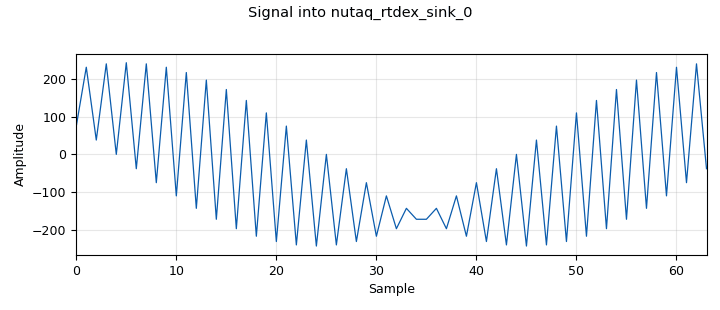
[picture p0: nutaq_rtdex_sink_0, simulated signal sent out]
<?xml version='1.0' encoding='utf-8'?>
<?grc format='1' created='3.7.7'?>
<flow_graph>
<block>
<key>options</key>
<param><key>id</key><value>perseus_mimo</value></param>
<param><key>title</key><value>Perseus MIMO</value></param>
<param><key>generate_options</key><value>wx_gui</value></param>
<param><key>category</key><value>Custom</value></param>
</block>
<block>
<key>variable</key>
<param><key>id</key><value>samp_rate</value></param>
<param><key>value</key><value>40e6/2</value></param>
</block>
<block>
<key>blocks_float_to_short</key>
<param><key>id</key><value>blocks_float_to_short_0_0</value></param>
<param><key>scale</key><value>2**11-1</value></param>
</block>
<block>
<key>blocks_float_to_short</key>
<param><key>id</key><value>blocks_float_to_short_0_0_0</value></param>
<param><key>scale</key><value>2**11-1</value></param>
</block>
<block>
<key>blocks_interleave</key>
<param><key>id</key><value>blocks_interleave_0</value></param>
<param><key>type</key><value>short</value></param>
</block>
<block>
<key>nutaq_rtdex_source</key>
<param><key>id</key><value>nutaq_rtdex_source_0</value></param>
<param><key>_enabled</key><value>False</value></param>
<param><key>target_id</key><value>nutaq_carrier_perseus_0</value></param>
<param><key>block_priority</key><value>5</value></param>
<param><key>type</key><value>short</value></param>
<param><key>media_type</key><value>0</value></param>
<param><key>packet_size</key><value>8192</value></param>
<param><key>num_chan</key><value>2</value></param>
<param><key>channels</key><value>1,2</value></param>
</block>
<block>
<key>wxgui_fftsink2</key>
<param><key>id</key><value>wxgui_fftsink_0</value></param>
<param><key>_enabled</key><value>False</value></param>
<param><key>type</key><value>complex</value></param>
<param><key>title</key><value>FFT Plot</value></param>
<param><key>samp_rate</key><value>samp_rate</value></param>
<param><key>baseband_freq</key><value>0</value></param>
<param><key>y_per_div</key><value>10</value></param>
<param><key>y_divs</key><value>10</value></param>
<param><key>ref_level</key><value>0</value></param>
<param><key>ref_scale</key><value>2.0</value></param>
<param><key>fft_size</key><value>1024</value></param>
<param><key>fft_rate</key><value>15</value></param>
<param><key>peak_hold</key><value>False</value></param>
<param><key>average</key><value>False</value></param>
<param><key>avg_alpha</key><value>0</value></param>
<param><key>win</key><value>None</value></param>
<param><key>freqvar</key><value>None</value></param>
</block>
<block>
<key>wxgui_fftsink2</key>
<param><key>id</key><value>wxgui_fftsink_1</value></param>
<param><key>_enabled</key><value>False</value></param>
<param><key>type</key><value>complex</value></param>
<param><key>title</key><value>FFT Plot</value></param>
<param><key>samp_rate</key><value>samp_rate</value></param>
<param><key>baseband_freq</key><value>0</value></param>
<param><key>y_per_div</key><value>10</value></param>
<param><key>y_divs</key><value>10</value></param>
<param><key>ref_level</key><value>0</value></param>
<param><key>ref_scale</key><value>2.0</value></param>
<param><key>fft_size</key><value>1024</value></param>
<param><key>fft_rate</key><value>15</value></param>
<param><key>peak_hold</key><value>False</value></param>
<param><key>average</key><value>False</value></param>
<param><key>avg_alpha</key><value>0</value></param>
<param><key>win</key><value>None</value></param>
<param><key>freqvar</key><value>None</value></param>
</block>
<block>
<key>blocks_float_to_complex</key>
<param><key>id</key><value>blocks_float_to_complex_0_0</value></param>
<param><key>_enabled</key><value>False</value></param>
</block>
<block>
<key>blocks_deinterleave</key>
<param><key>id</key><value>blocks_deinterleave_0</value></param>
<param><key>_enabled</key><value>False</value></param>
<param><key>type</key><value>short</value></param>
</block>
<block>
<key>blocks_short_to_float</key>
<param><key>id</key><value>blocks_short_to_float_0</value></param>
<param><key>_enabled</key><value>False</value></param>
<param><key>scale</key><value>2**11-1</value></param>
</block>
<block>
<key>blocks_short_to_float</key>
<param><key>id</key><value>blocks_short_to_float_0_0</value></param>
<param><key>_enabled</key><value>False</value></param>
<param><key>scale</key><value>2**11-1</value></param>
</block>
<block>
<key>blocks_short_to_float</key>
<param><key>id</key><value>blocks_short_to_float_0_1</value></param>
<param><key>_enabled</key><value>False</value></param>
<param><key>scale</key><value>2**11-1</value></param>
</block>
<block>
<key>blocks_short_to_float</key>
<param><key>id</key><value>blocks_short_to_float_0_0_0</value></param>
<param><key>_enabled</key><value>False</value></param>
<param><key>scale</key><value>2**11-1</value></param>
</block>
<block>
<key>blocks_deinterleave</key>
<param><key>id</key><value>blocks_deinterleave_0_0</value></param>
<param><key>_enabled</key><value>False</value></param>
<param><key>type</key><value>short</value></param>
</block>
<block>
<key>blocks_float_to_complex</key>
<param><key>id</key><value>blocks_float_to_complex_0</value></param>
<param><key>_enabled</key><value>False</value></param>
</block>
<block>
<key>analog_sig_source_x</key>
<param><key>id</key><value>analog_sig_source_x_0_0</value></param>
<param><key>_enabled</key><value>False</value></param>
<param><key>type</key><value>complex</value></param>
<param><key>samp_rate</key><value>samp_rate/40</value></param>
<param><key>waveform</key><value>analog.GR_COS_WAVE</value></param>
<param><key>freq</key><value>freq2</value></param>
<param><key>amp</key><value>0.95</value></param>
<param><key>offset</key><value>0</value></param>
</block>
<block>
<key>blocks_interleave</key>
<param><key>id</key><value>blocks_interleave_0_0</value></param>
<param><key>_enabled</key><value>False</value></param>
<param><key>type</key><value>short</value></param>
</block>
<block>
<key>blocks_complex_to_float</key>
<param><key>id</key><value>blocks_complex_to_float_0_0</value></param>
<param><key>_enabled</key><value>False</value></param>
</block>
<block>
<key>blocks_float_to_short</key>
<param><key>id</key><value>blocks_float_to_short_0_0_0_0</value></param>
<param><key>_enabled</key><value>False</value></param>
<param><key>scale</key><value>2**11-1</value></param>
</block>
<block>
<key>blocks_float_to_short</key>
<param><key>id</key><value>blocks_float_to_short_0_0_1</value></param>
<param><key>_enabled</key><value>False</value></param>
<param><key>scale</key><value>2**11-1</value></param>
</block>
<block>
<key>nutaq_carrier_perseus</key>
<param><key>id</key><value>nutaq_carrier_perseus_0</value></param>
<param><key>ip_addr</key><value>192.168.0.101</value></param>
</block>
<block>
<key>nutaq_custom_register</key>
<param><key>id</key><value>nutaq_custom_register_0</value></param>
<param><key>target_id</key><value>nutaq_carrier_perseus_0</value></param>
<param><key>block_priority</key><value>4</value></param>
<param><key>index</key><value>1</value></param>
<param><key>value</key><value>3</value></param>
<param><key>update_rate</key><value>1</value></param>
</block>
<block>
<key>nutaq_custom_register</key>
<param><key>id</key><value>nutaq_carrier_perseus_0d</value></param>
<param><key>target_id</key><value>nutaq_carrier_perseus_0</value></param>
<param><key>block_priority</key><value>5</value></param>
<param><key>index</key><value>4</value></param>
<param><key>value</key><value>1</value></param>
<param><key>update_rate</key><value>1</value></param>
</block>
<block>
<key>nutaq_custom_register</key>
<param><key>id</key><value>nutaq_custom_register_0_1</value></param>
<param><key>target_id</key><value>nutaq_carrier_perseus_0</value></param>
<param><key>block_priority</key><value>36</value></param>
<param><key>index</key><value>0</value></param>
<param><key>value</key><value>int((2e6)/samp_rate*(2**32))</value></param>
<param><key>update_rate</key><value>1</value></param>
</block>
<block>
<key>nutaq_custom_register</key>
<param><key>id</key><value>nutaq_custom_register_0_1_0</value></param>
<param><key>target_id</key><value>nutaq_carrier_perseus_0</value></param>
<param><key>block_priority</key><value>7</value></param>
<param><key>index</key><value>2</value></param>
<param><key>value</key><value>int(0/samp_rate*(2**32))</value></param>
<param><key>update_rate</key><value>1</value></param>
</block>
<block>
<key>nutaq_custom_register</key>
<param><key>id</key><value>nutaq_custom_register_0_1_1</value></param>
<param><key>target_id</key><value>nutaq_carrier_perseus_0</value></param>
<param><key>block_priority</key><value>9</value></param>
<param><key>index</key><value>6</value></param>
<param><key>value</key><value>600</value></param>
<param><key>update_rate</key><value>1</value></param>
</block>
<block>
<key>nutaq_custom_register</key>
<param><key>id</key><value>nutaq_custom_register_0_0_0</value></param>
<param><key>target_id</key><value>nutaq_carrier_perseus_0</value></param>
<param><key>block_priority</key><value>8</value></param>
<param><key>index</key><value>3</value></param>
<param><key>value</key><value>7</value></param>
<param><key>update_rate</key><value>1</value></param>
</block>
<block>
<key>variable_slider</key>
<param><key>id</key><value>freq2</value></param>
<param><key>_enabled</key><value>False</value></param>
<param><key>label</key><value></value></param>
<param><key>value</key><value>1e6</value></param>
<param><key>min</key><value>-samp_rate/2</value></param>
<param><key>max</key><value>samp_rate/2</value></param>
<param><key>num_steps</key><value>100</value></param>
<param><key>style</key><value>wx.SL_HORIZONTAL</value></param>
<param><key>converver</key><value>float_converter</value></param>
</block>
<block>
<key>variable_slider</key>
<param><key>id</key><value>freq1</value></param>
<param><key>label</key><value></value></param>
<param><key>value</key><value>500e3/40</value></param>
<param><key>min</key><value>-samp_rate/2/40</value></param>
<param><key>max</key><value>samp_rate/2/40</value></param>
<param><key>num_steps</key><value>100</value></param>
<param><key>style</key><value>wx.SL_HORIZONTAL</value></param>
<param><key>converver</key><value>float_converter</value></param>
</block>
<block>
<key>nutaq_rtdex_sink</key>
<param><key>id</key><value>nutaq_rtdex_sink_0</value></param>
<param><key>target_id</key><value>nutaq_carrier_perseus_0</value></param>
<param><key>block_priority</key><value>4</value></param>
<param><key>type</key><value>short</value></param>
<param><key>media_type</key><value>0</value></param>
<param><key>packet_size</key><value>8192</value></param>
<param><key>num_chan</key><value>1</value></param>
<param><key>channels</key><value>1</value></param>
</block>
<block>
<key>analog_sig_source_x</key>
<param><key>id</key><value>analog_sig_source_x_0</value></param>
<param><key>type</key><value>complex</value></param>
<param><key>samp_rate</key><value>samp_rate/40</value></param>
<param><key>waveform</key><value>analog.GR_COS_WAVE</value></param>
<param><key>freq</key><value>freq1</value></param>
<param><key>amp</key><value>0.95</value></param>
<param><key>offset</key><value>0</value></param>
</block>
<block>
<key>blocks_complex_to_float</key>
<param><key>id</key><value>blocks_complex_to_float_0</value></param>
</block>
<block>
<key>blocks_multiply_const_vxx</key>
<param><key>id</key><value>blocks_multiply_const_vxx_0_2</value></param>
<param><key>type</key><value>complex</value></param>
<param><key>const</key><value>0.125</value></param>
</block>
<block>
<key>nutaq_radio420_rx</key>
<param><key>id</key><value>nutaq_radio420_rx_0_0</value></param>
<param><key>target_id</key><value>nutaq_carrier_perseus_0</value></param>
<param><key>block_priority</key><value>3</value></param>
<param><key>selected_card</key><value>2</value></param>
<param><key>enable</key><value>1</value></param>
<param><key>reference</key><value>1</value></param>
<param><key>rx_freq</key><value>943e6</value></param>
<param><key>datarate</key><value>samp_rate*2</value></param>
<param><key>calibrate</key><value>1</value></param>
<param><key>band</key><value>0</value></param>
<param><key>update_rate</key><value>1</value></param>
<param><key>rx_lna_gain</key><value>2</value></param>
<param><key>rx_vga1_gain</key><value>1</value></param>
<param><key>rx_gain2</key><value>0</value></param>
<param><key>rx_gain3</key><value>-8</value></param>
<param><key>rx_lpf_bandwidth</key><value>6</value></param>
<param><key>rx_rf_filter</key><value>2</value></param>
<param><key>ref_clk_ctrl</key><value>0</value></param>
<param><key>rf_ctrl</key><value>0</value></param>
<param><key>rx_gain_ctrl</key><value>0</value></param>
<param><key>pll_cpld_ctrl</key><value>0</value></param>
</block>
<block>
<key>nutaq_radio420_tx</key>
<param><key>id</key><value>nutaq_radio420_tx_0_0</value></param>
<param><key>target_id</key><value>nutaq_carrier_perseus_0</value></param>
<param><key>block_priority</key><value>2</value></param>
<param><key>selected_card</key><value>2</value></param>
<param><key>enable</key><value>1</value></param>
<param><key>reference</key><value>1</value></param>
<param><key>tx_freq</key><value>943e6</value></param>
<param><key>datarate</key><value>samp_rate*2</value></param>
<param><key>calibrate</key><value>1</value></param>
<param><key>band</key><value>0</value></param>
<param><key>update_rate</key><value>1</value></param>
<param><key>tx_vga1_gain</key><value>-17</value></param>
<param><key>tx_vga2_gain</key><value>5</value></param>
<param><key>tx_gain3</key><value>-4</value></param>
<param><key>tx_lpf_bandwidth</key><value>6</value></param>
<param><key>ref_clk_ctrl</key><value>0</value></param>
<param><key>rf_ctrl</key><value>0</value></param>
<param><key>tx_gain_ctrl</key><value>0</value></param>
<param><key>pll_cpld_ctrl</key><value>0</value></param>
</block>
<block>
<key>nutaq_radio420_rx</key>
<param><key>id</key><value>nutaq_radio420_rx_0</value></param>
<param><key>target_id</key><value>nutaq_carrier_perseus_0</value></param>
<param><key>block_priority</key><value>1</value></param>
<param><key>selected_card</key><value>1</value></param>
<param><key>enable</key><value>1</value></param>
<param><key>reference</key><value>0</value></param>
<param><key>rx_freq</key><value>943e6</value></param>
<param><key>datarate</key><value>samp_rate*2</value></param>
<param><key>calibrate</key><value>1</value></param>
<param><key>band</key><value>0</value></param>
<param><key>update_rate</key><value>1</value></param>
<param><key>rx_lna_gain</key><value>2</value></param>
<param><key>rx_vga1_gain</key><value>1</value></param>
<param><key>rx_gain2</key><value>0</value></param>
<param><key>rx_gain3</key><value>-8</value></param>
<param><key>rx_lpf_bandwidth</key><value>6</value></param>
<param><key>rx_rf_filter</key><value>2</value></param>
<param><key>ref_clk_ctrl</key><value>0</value></param>
<param><key>rf_ctrl</key><value>0</value></param>
<param><key>rx_gain_ctrl</key><value>0</value></param>
<param><key>pll_cpld_ctrl</key><value>0</value></param>
</block>
<block>
<key>nutaq_radio420_tx</key>
<param><key>id</key><value>nutaq_radio420_tx_0</value></param>
<param><key>target_id</key><value>nutaq_carrier_perseus_0</value></param>
<param><key>block_priority</key><value>0</value></param>
<param><key>selected_card</key><value>1</value></param>
<param><key>enable</key><value>1</value></param>
<param><key>reference</key><value>0</value></param>
<param><key>tx_freq</key><value>943e6</value></param>
<param><key>datarate</key><value>samp_rate*2</value></param>
<param><key>calibrate</key><value>1</value></param>
<param><key>band</key><value>0</value></param>
<param><key>update_rate</key><value>1</value></param>
<param><key>tx_vga1_gain</key><value>-17</value></param>
<param><key>tx_vga2_gain</key><value>5</value></param>
<param><key>tx_gain3</key><value>-4</value></param>
<param><key>tx_lpf_bandwidth</key><value>6</value></param>
<param><key>ref_clk_ctrl</key><value>0</value></param>
<param><key>rf_ctrl</key><value>0</value></param>
<param><key>tx_gain_ctrl</key><value>0</value></param>
<param><key>pll_cpld_ctrl</key><value>0</value></param>
</block>
<connection><source_block_id>blocks_interleave_0</source_block_id><sink_block_id>nutaq_rtdex_sink_0</sink_block_id><source_key>0</source_key><sink_key>0</sink_key></connection>
<connection><source_block_id>blocks_float_to_short_0_0</source_block_id><sink_block_id>blocks_interleave_0</sink_block_id><source_key>0</source_key><sink_key>0</sink_key></connection>
<connection><source_block_id>blocks_float_to_short_0_0_0</source_block_id><sink_block_id>blocks_interleave_0</sink_block_id><source_key>0</source_key><sink_key>1</sink_key></connection>
<connection><source_block_id>blocks_complex_to_float_0</source_block_id><sink_block_id>blocks_float_to_short_0_0_0</sink_block_id><source_key>1</source_key><sink_key>0</sink_key></connection>
<connection><source_block_id>blocks_complex_to_float_0</source_block_id><sink_block_id>blocks_float_to_short_0_0</sink_block_id><source_key>0</source_key><sink_key>0</sink_key></connection>
<connection><source_block_id>blocks_complex_to_float_0_0</source_block_id><sink_block_id>blocks_float_to_short_0_0_1</sink_block_id><source_key>0</source_key><sink_key>0</sink_key></connection>
<connection><source_block_id>blocks_float_to_short_0_0_1</source_block_id><sink_block_id>blocks_interleave_0_0</sink_block_id><source_key>0</source_key><sink_key>0</sink_key></connection>
<connection><source_block_id>blocks_short_to_float_0_0_0</source_block_id><sink_block_id>blocks_float_to_complex_0_0</sink_block_id><source_key>0</source_key><sink_key>1</sink_key></connection>
<connection><source_block_id>blocks_short_to_float_0_1</source_block_id><sink_block_id>blocks_float_to_complex_0_0</sink_block_id><source_key>0</source_key><sink_key>0</sink_key></connection>
<connection><source_block_id>blocks_deinterleave_0_0</source_block_id><sink_block_id>blocks_short_to_float_0_1</sink_block_id><source_key>0</source_key><sink_key>0</sink_key></connection>
<connection><source_block_id>blocks_deinterleave_0_0</source_block_id><sink_block_id>blocks_short_to_float_0_0_0</sink_block_id><source_key>1</source_key><sink_key>0</sink_key></connection>
<connection><source_block_id>nutaq_rtdex_source_0</source_block_id><sink_block_id>blocks_deinterleave_0_0</sink_block_id><source_key>1</source_key><sink_key>0</sink_key></connection>
<connection><source_block_id>blocks_deinterleave_0</source_block_id><sink_block_id>blocks_short_to_float_0</sink_block_id><source_key>0</source_key><sink_key>0</sink_key></connection>
<connection><source_block_id>blocks_short_to_float_0</source_block_id><sink_block_id>blocks_float_to_complex_0</sink_block_id><source_key>0</source_key><sink_key>0</sink_key></connection>
<connection><source_block_id>blocks_short_to_float_0_0</source_block_id><sink_block_id>blocks_float_to_complex_0</sink_block_id><source_key>0</source_key><sink_key>1</sink_key></connection>
<connection><source_block_id>nutaq_rtdex_source_0</source_block_id><sink_block_id>blocks_deinterleave_0</sink_block_id><source_key>0</source_key><sink_key>0</sink_key></connection>
<connection><source_block_id>blocks_deinterleave_0</source_block_id><sink_block_id>blocks_short_to_float_0_0</sink_block_id><source_key>1</source_key><sink_key>0</sink_key></connection>
<connection><source_block_id>blocks_float_to_complex_0_0</source_block_id><sink_block_id>wxgui_fftsink_0</sink_block_id><source_key>0</source_key><sink_key>0</sink_key></connection>
<connection><source_block_id>blocks_float_to_complex_0</source_block_id><sink_block_id>wxgui_fftsink_1</sink_block_id><source_key>0</source_key><sink_key>0</sink_key></connection>
<connection><source_block_id>blocks_complex_to_float_0_0</source_block_id><sink_block_id>blocks_float_to_short_0_0_0_0</sink_block_id><source_key>1</source_key><sink_key>0</sink_key></connection>
<connection><source_block_id>blocks_float_to_short_0_0_0_0</source_block_id><sink_block_id>blocks_interleave_0_0</sink_block_id><source_key>0</source_key><sink_key>1</sink_key></connection>
<connection><source_block_id>analog_sig_source_x_0_0</source_block_id><sink_block_id>blocks_complex_to_float_0_0</sink_block_id><source_key>0</source_key><sink_key>0</sink_key></connection>
<connection><source_block_id>analog_sig_source_x_0</source_block_id><sink_block_id>blocks_multiply_const_vxx_0_2</sink_block_id><source_key>0</source_key><sink_key>0</sink_key></connection>
<connection><source_block_id>blocks_multiply_const_vxx_0_2</source_block_id><sink_block_id>blocks_complex_to_float_0</sink_block_id><source_key>0</source_key><sink_key>0</sink_key></connection>
</flow_graph>
